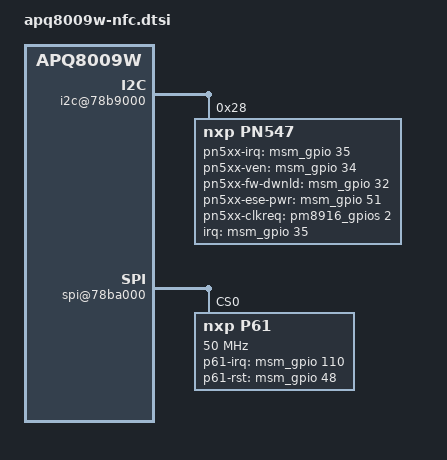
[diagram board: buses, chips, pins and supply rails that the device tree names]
/* Copyright (c) 2016,  CYPRESS CO., LTD.  All rights reserved.
 *
 * This program is free software; you can redistribute it and/or modify
 * it under the terms of the GNU General Public License version 2 and
 * only version 2 as published by the Free Software Foundation.
 *
 * This program is distributed in the hope that it will be useful,
 * but WITHOUT ANY WARRANTY; without even the implied warranty of
 * MERCHANTABILITY or FITNESS FOR A PARTICULAR PURPOSE.  See the
 * GNU General Public License for more details.
 */
 &soc {
     i2c@78b9000 {
        pn547@28 {
            status="ok";
            compatible = "nxp,pn547";
            reg = <0x28>;
            interrupt-parent = <&msm_gpio>;
            interrupts = <35 0x2>;
            nxp,pn5xx-irq = <&msm_gpio 35 0x00>;
            nxp,pn5xx-ven = <&msm_gpio 34 0x00>;
            nxp,pn5xx-fw-dwnld = <&msm_gpio 32 0x00>;
            nxp,pn5xx-ese-pwr = <&msm_gpio 51 0x00>;
            clocks = <&clock_rpm clk_bb_clk2_pin>;
            clock-names = "bbclk2";
            qcom,clk-src = "BBCLK2";
            nxp,pn5xx-clkreq = <&pm8916_gpios 2 0>;
        };
     };

    spi@78ba000 {
        p61@0 {
            compatible = "nxp,p61";
            reg = <0>;
            spi-max-frequency = <50000000>;
            spi-cpol;
            spi-cpha;
            spi-cs-high;
            nxp,p61-irq = <&msm_gpio 110 0x00>;
            nxp,p61-rst = <&msm_gpio 48 0x00>;
        };
    };
};

